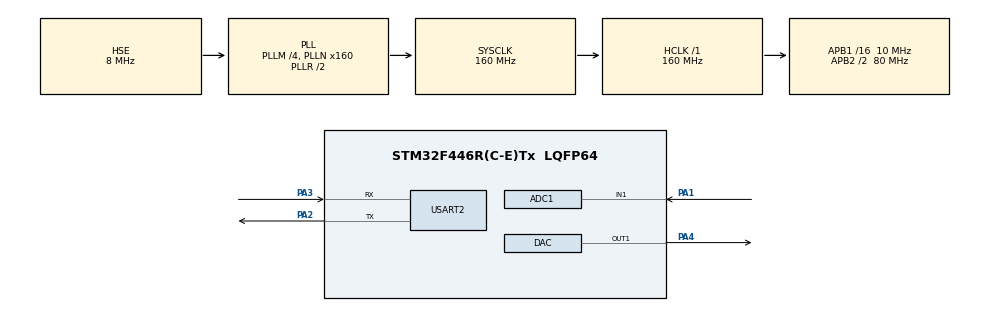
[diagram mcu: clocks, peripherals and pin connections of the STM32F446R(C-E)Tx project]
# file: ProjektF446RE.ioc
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ADC1.Channel-0\#ChannelRegularConversion=ADC_CHANNEL_1
ADC1.ClockPrescaler=ADC_CLOCK_SYNC_PCLK_DIV8
ADC1.ContinuousConvMode=ENABLE
ADC1.DMAContinuousRequests=ENABLE
ADC1.NbrOfConversionFlag=1
ADC1.Rank-0\#ChannelRegularConversion=1
ADC1.SamplingTime-0\#ChannelRegularConversion=ADC_SAMPLETIME_3CYCLES
ADC1.ScanConvMode=ENABLE
ADC1.master=1
DAC.DAC_Trigger=DAC_TRIGGER_T6_TRGO
Dma.ADC1.0.Direction=DMA_PERIPH_TO_MEMORY
Dma.ADC1.0.FIFOMode=DMA_FIFOMODE_DISABLE
Dma.ADC1.0.Instance=DMA2_Stream0
Dma.ADC1.0.MemDataAlignment=DMA_MDATAALIGN_HALFWORD
Dma.ADC1.0.MemInc=DMA_MINC_ENABLE
Dma.ADC1.0.Mode=DMA_CIRCULAR
Dma.ADC1.0.PeriphDataAlignment=DMA_PDATAALIGN_HALFWORD
Dma.ADC1.0.PeriphInc=DMA_PINC_DISABLE
Dma.ADC1.0.Priority=DMA_PRIORITY_LOW
Dma.DAC1.1.Direction=DMA_MEMORY_TO_PERIPH
Dma.DAC1.1.FIFOMode=DMA_FIFOMODE_DISABLE
Dma.DAC1.1.Instance=DMA1_Stream5
Dma.DAC1.1.MemDataAlignment=DMA_MDATAALIGN_HALFWORD
Dma.DAC1.1.MemInc=DMA_MINC_ENABLE
Dma.DAC1.1.Mode=DMA_CIRCULAR
Dma.DAC1.1.PeriphDataAlignment=DMA_PDATAALIGN_HALFWORD
Dma.DAC1.1.PeriphInc=DMA_PINC_DISABLE
Dma.DAC1.1.Priority=DMA_PRIORITY_LOW
Dma.Request0=ADC1
Dma.Request1=DAC1
Mcu.Family=STM32F4
Mcu.Name=STM32F446R(C-E)Tx
Mcu.Package=LQFP64
NVIC.DMA1_Stream5_IRQn=true\:0\:0\:false\:false\:true\:false\:true
NVIC.DMA2_Stream0_IRQn=true\:0\:0\:false\:false\:true\:false\:true
NVIC.PriorityGroup=NVIC_PRIORITYGROUP_4
NVIC.USART2_IRQn=true\:0\:0\:false\:false\:true\:true\:true
PA1.Signal=ADCx_IN1
PA13.Mode=Serial_Wire
PA13.Signal=SYS_JTMS-SWDIO
PA14.Mode=Serial_Wire
PA14.Signal=SYS_JTCK-SWCLK
PA2.Mode=Asynchronous
PA2.Signal=USART2_TX
PA3.Mode=Asynchronous
PA3.Signal=USART2_RX
PA4.Signal=COMP_DAC1_group
PB3.Signal=SYS_JTDO-SWO
PC14-OSC32_IN.Mode=LSE-External-Oscillator
PC14-OSC32_IN.Signal=RCC_OSC32_IN
PC15-OSC32_OUT.Mode=LSE-External-Oscillator
PC15-OSC32_OUT.Signal=RCC_OSC32_OUT
PH0-OSC_IN.Mode=HSE-External-Clock-Source
PH0-OSC_IN.Signal=RCC_OSC_IN
PH1-OSC_OUT.Mode=HSE-External-Clock-Source
PH1-OSC_OUT.Signal=RCC_OSC_OUT
ProjectManager.HeapSize=0x200
ProjectManager.StackSize=0x400
ProjectManager.TargetToolchain=STM32CubeIDE
RCC.AHBFreq_Value=160000000
RCC.APB1CLKDivider=RCC_HCLK_DIV16
RCC.APB1Freq_Value=10000000
RCC.APB1TimFreq_Value=20000000
RCC.APB2CLKDivider=RCC_HCLK_DIV2
RCC.APB2Freq_Value=80000000
RCC.APB2TimFreq_Value=160000000
RCC.CortexFreq_Value=160000000
RCC.HCLKFreq_Value=160000000
RCC.HSE_VALUE=8000000
RCC.PLLM=4
RCC.PLLN=160
RCC.PLLSourceVirtual=RCC_PLLSOURCE_HSE
RCC.PWR_Regulator_Voltage_Scale=PWR_REGULATOR_VOLTAGE_SCALE1
RCC.SYSCLKFreq_VALUE=160000000
RCC.SYSCLKSource=RCC_SYSCLKSOURCE_PLLRCLK
RCC.USBFreq_Value=160000000
RCC.VCOOutputFreq_Value=320000000
SH.ADCx_IN1.0=ADC1_IN1,IN1
SH.COMP_DAC1_group.0=DAC_OUT1,DAC_OUT1
TIM6.Period=999
TIM6.TIM_MasterOutputTrigger=TIM_TRGO_UPDATE
USART2.VirtualMode=VM_ASYNC
VP_TIM6_VS_ClockSourceINT.Mode=Enable_Timer
board=custom

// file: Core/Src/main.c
/* USER CODE BEGIN Header */
/**
  ******************************************************************************
  * @file           : main.c
  * @brief          : Main program body
  ******************************************************************************
  * @attention
  *
  * <h2><center>&copy; Copyright (c) 2021 STMicroelectronics.
  * All rights reserved.</center></h2>
  *
  * This software component is licensed by ST under BSD 3-Clause license,
  * the "License"; You may not use this file except in compliance with the
  * License. You may obtain a copy of the License at:
  *                        opensource.org/licenses/BSD-3-Clause
  *
  ******************************************************************************
  */
/* USER CODE END Header */
#include "main.h"

/* USER CODE BEGIN Includes */
#include <string.h>
#include <stdio.h>
#include <stdarg.h>
#include <math.h>
/* USER CODE END Includes */

/* USER CODE BEGIN PD */
void clean_frame(char * tab ,int len);
void clean_after_all(int len);
int tmp_to_hz(uint32_t temp);
void clean_frame(char * tab ,int len);
void USART_send(char* format,...);
void dac_tab_update(int hz , uint16_t *dac_fill_tab);
/* USER CODE END PD */

ADC_HandleTypeDef hadc1;
DMA_HandleTypeDef hdma_adc1;

DAC_HandleTypeDef hdac;
DMA_HandleTypeDef hdma_dac1;

TIM_HandleTypeDef htim6;

UART_HandleTypeDef huart2;

/* USER CODE BEGIN PV */
// ZMIENNE DO MySysTick()

uint8_t ms_set=0;
extern uint16_t arg;

//BUFOROWE ZMIENNE

#define USART_TXBUF_LEN 20000 //długość nadawczego bufora
#define USART_RXBUF_LEN 20000 //długość odbiorczego bufora
uint8_t USART_TxBuf[USART_TXBUF_LEN]; //bufor nadawczy
uint8_t USART_RxBuf[USART_RXBUF_LEN]; //bufor odbiorczy
//Wskaźniki
__IO int USART_TX_Empty = 0;
__IO int USART_TX_Busy = 0;
__IO int USART_RX_Empty = 0;
__IO int USART_RX_Busy = 0;

//ZMIENNE DO GENERACJI SINUSA
uint16_t fs = 10000;
const double PI = 3.14;
int f = 1;
int tablica_wartosci[10000];

//ZMIENNE DO CZUJNIKA TEMPERATURY

uint32_t temp;

//ZMIENNE DO RAMKI

#define  FRSTART 0x3A //znak początku ramki
#define FREND 0x3B //znak końca ramki
#define FRCOD 0x5C //znak kodujący
#define FRCODS 0x61 //znak zakodowany oznaczający znak startu ramki
#define FRCODE 0x62 //znak zakodowany oznaczajacy znak konca ramki

char receiver_name[4]; //tablica na nazwę odbiorcy
char sender_name[4]; // tablica na nazwe wysyłającego
char command[257]; // tablica na komende
char frame[264]; // tablica na ramkę
int frame_read=0; //zmienna mówiąca czy przetwarzana jest ramka

//zmienne do testów

// zmienne do DMA

uint16_t dma_buff[1024];
uint32_t i=0;
uint32_t suma_dma;

//Zmienne ogolnie

int sin_transmit = 0;
int hz=0;

//Zmienne flagowe ADC

int adc_half_buff = 0;
int adc_all_buff = 0;

//Zmienne do DAC

uint16_t dac_tab[128];
uint16_t tabI = 0;

//Zmienne flagowe DAC

int dac_half_buff = 0;
int dac_all_buff = 0;

/* USER CODE END PV */

void SystemClock_Config(void);
static void MX_GPIO_Init(void);
static void MX_DMA_Init(void);
static void MX_USART2_UART_Init(void);
static void MX_ADC1_Init(void);
static void MX_DAC_Init(void);
static void MX_TIM6_Init(void);
/* USER CODE BEGIN PFP */
void MySysTick(int arg){

	static uint16_t ms=0;
	ms++;
	if(ms>arg)
	{
		ms=0;
		ms_set=1;
	}

}

uint8_t USART_RX_IsNotEmpty(){
	if(USART_RX_Busy == USART_RX_Empty)
	{
		return 0;
	}else{
		return 1;
	}
}//Funkcja sprawdzajacy czy bufor odbiorczy jest pusty

uint8_t USART_GC(){
	uint8_t tmp;
	if(USART_RX_Empty!=USART_RX_Busy)
	{
		tmp = USART_RxBuf[USART_RX_Busy];
		USART_RX_Busy++;
		if(USART_RX_Busy >= USART_RXBUF_LEN) USART_RX_Busy =0;
		return tmp;
	}else
	{
		return 0;
	}
} //Funkcja zwracająca znak

uint16_t USART_GD(){
	static uint8_t bf[1052]; //buffor składujący znaki
	static uint16_t index=0;
	uint8_t buff_helper[1052]; //bufor pomocniczy
	uint16_t len_com; //długość komendy
	while(USART_RX_IsNotEmpty()) //Jeżeli buffor odbiorczy nie jest pusty następuje czytanie znaków
	{
		bf[index] = USART_GC(); //przeczytanie pojedynczego znaku
		if(bf[index] == FRSTART){ //sprawdzenie czy jest to znak początku ramki
			frame_read = 1; //włączenie czytania ramki
			bf[0] = bf[index]; //zabezpieczenie przez kilkoma znakami początku
			index = 0; //zabezpieczenie przez kilkoma znakami początku
		}
		if (frame_read == 1) { //Rozpoczęcie składowania ramki
			if ((bf[index] == FREND)) { //Napotkanie znaku końca ramki prowadzi do przekazania informacji z buffora składującego do buffora pomocniczego
				for (int i = 0; i <= index; i++) {
					buff_helper[i] = bf[i];
				}
				len_com = index; //długość komendy jest równa indexowi
				int y = 0, i = 0;
				if (len_com > 6) { //Sprawdzenie czy długość ramki zawiera minimalną możliwą długość
					while (i <= len_com) { //Początek dekodawania ramki
						char singlefrchar = buff_helper[i]; // wczytanie pojedynczego znaku z buffora pomocniczego
						switch (singlefrchar) { // w zależności od znaku dekodowanie lub przepisanie wartości lub przejście do wykonania komendy z ramki
						case FRCOD: { //w przypadku znaku kodowania odkodowanie wartości
							if (buff_helper[i + 1] == FRCODS) {
								frame[y] = FRSTART;
								i++;
							} else if (buff_helper[i + 1] == FRCODE) {
								frame[y] = FREND;
								i++;
							} else if (buff_helper[i + 1] == FRCOD) {
								frame[y] = FRCOD;
								i++;
							} else { //W momencie znalezienia kodowania, które nie zostało uwzględnione w protokole reset , nie jest to ramka
								i = len_com+1;
								clean_after_all(y);
							}
							break;
						}
						case FREND: { // W przypadku znalezienia znaku końca ramki
							if(y > 263){ // Jeżeli ramka ma więcej niż 263 znaki bez liczenia znaku końca ramki, przekracza ona wymagania protokołu(błąd)
								clean_after_all(y);
								break;
							}
							//Podzielenie ramki na poszczególne elementy
							memcpy(sender_name, &frame[1], 3); // nazwa wysyłającego
							memcpy(receiver_name, &frame[4], 3); // nazwa odbiorcy
							memcpy(command, &frame[7], (y - 6)); // komenda
							//wykonywanie komendy
							if (memcmp("STM", receiver_name, 3) == 0 //warunek sprawdzający czy dana ramka nie została wysłana przez STM do STM
									&& memcmp("STM", sender_name, 3) != 0) {
								if (memcmp("", command, 1) == 0) { // Warunek sprawdzający czy ramka posiada w sobie komendę
									USART_send(":STM%sFREMPTY;", sender_name);
									clean_after_all(y);
								} else {
									//Wykonanie poszczególnych komend
									if (memcmp("temp", command, 4) == 0) {
										USART_send(":STM%stemp,%i;", sender_name,temp); //wysłanie komunikatu zwrotnego z informacją o temperaturze
										clean_after_all(y); //wyczyszczenie ramki
									} else if (memcmp("sin", command, 3) == 0) {
										sin_transmit = 1; //ustawienie flagi do wysyłania wartości z tablicy wartości
									} else if (memcmp("hz", command, 2) == 0) {
										hz = tmp_to_hz(temp); //obliczenie hz
										USART_send(":STM%shz,%i;", sender_name, hz); //wysłanie komunikatu zwrotnego z obecnymi hz'ami
										clean_after_all(y); // wyczyszczenie ramki
									} else {
										//Komunikat o nierozpoznanej komendzie w ramce
										USART_send(":STM%sCOM404;", sender_name); //wysłanie komunikatu zwrotnego o nierozpoznaniu komendy
										clean_after_all(y); //wyczyszczenie ramki

									}
								}
							} else {
								clean_after_all(y); // wyczyszczenie ramki w przypadku odebrania ramki od samego siebie
							}
							break;
						}
						default: {
							frame[y] = buff_helper[i]; // przepisanie znaku z buffora pomocniczego do ramki
						}
						}
						y++;
						i++;
					}
				}
				index = 0; //wyzerowanie indexu
				return 0;
			} else {
				index++;
				if (index > 526) { //Sprawdzenie czy odbierane wartości są nie większe niż 526 znaku.
					index = 0; //wyzerowanie indexu
					frame_read = 0; //wyłączenie czytania ramki
				}
			}
		}
	}

	return 0;
}//Funkcja odbierająca dane

void USART_send(char* format,...){
	char tmp_s[1052];
	int i;
	__IO int index;
	va_list arglist;
	va_start(arglist,format);
	vsprintf(tmp_s,format,arglist);
	va_end(arglist);
	index=USART_TX_Empty;
	for(i=0;i<strlen(tmp_s);i++){
		USART_TxBuf[index] = tmp_s[i];
		index++;
		if(index >= USART_TXBUF_LEN) index=0;
	}

	__disable_irq();
	if((USART_TX_Empty == USART_TX_Busy) && (__HAL_UART_GET_FLAG(&huart2,UART_FLAG_TXE)==SET)){ //2 parametr sprawdza bufor nadajnika
		USART_TX_Empty = index;
		uint8_t tmp=USART_TxBuf[USART_TX_Busy];
		USART_TX_Busy++;
		if(USART_TX_Busy >= USART_TXBUF_LEN) USART_TX_Busy = 0;
		HAL_UART_Transmit_IT(&huart2,&tmp,1);

	}else{
		USART_TX_Empty = index;
	}
	__enable_irq();
}//Funkcja wysyłająca dane

void HAL_UART_TxCpltCallback(UART_HandleTypeDef *huart){
	if(huart == &huart2){
		if(USART_TX_Empty != USART_TX_Busy){
			uint8_t tmp= USART_TxBuf[USART_TX_Busy];
			USART_TX_Busy++;
			if(USART_TX_Busy >= USART_TXBUF_LEN) USART_TX_Busy =0;
			HAL_UART_Transmit_IT(&huart2, &tmp , 1);
		}
	}
}//Callback USART nadawania

void HAL_UART_RxCpltCallback(UART_HandleTypeDef *huart) {
	if (huart == &huart2) {
		USART_RX_Empty++;
		if (USART_RX_Empty >= USART_RXBUF_LEN)
			USART_RX_Empty = 0;
		HAL_UART_Receive_IT(&huart2, &USART_RxBuf[USART_RX_Empty], 1);
	}
} //Callback USART odbiór

void HAL_ADC_ConvCpltCallback(ADC_HandleTypeDef *hadc1) {

	adc_all_buff = 1;

}

void HAL_ADC_ConvHalfCpltCallback(ADC_HandleTypeDef *hadc1) {

	adc_half_buff = 1;

}

void HAL_DAC_ConvCpltCallbackCh1(DAC_HandleTypeDef *hdac) {

	dac_all_buff = 1;

}

void HAL_DAC_ConvHalfCpltCallbackCh1(DAC_HandleTypeDef *hdac) {

	dac_half_buff = 1;

}

void generacja_sinusa(int  *tablica_wartosci ) {

	int n,f=1; // n = ilość próbek na jeden okres sygnału f- częstotliwość
	double faza_sygnalu;
	uint16_t i = 0;
	n = fs / f; //obliczenie ilości próbek w momencie zmiany f

	while (i < n) {
		faza_sygnalu = ((i * 2 * PI * f) / fs);
		*(tablica_wartosci+i) = 2048 + (sin(faza_sygnalu) * 2048); //kodowanie wartości sinusa
		i = i + 1;
	}
	i = 0;
}// Funkcja generująca sinusa

void clean_frame(char * tab ,int len){

	for(int i = 0 ; i<=len ; i++)
	{
		*(tab+i) = '\0';
	}
}

void clean_after_all(int len){

	clean_frame(frame, len);
	clean_frame(command, (len - 6));

}

int tmp_to_hz(uint32_t temp){
	int value,hz=200;
	value = 55+temp;
	return hz + (value*9);
}

/* USER CODE END PFP */

int main(void)
{

  /* MCU Configuration--------------------------------------------------------*/

  /* Reset of all peripherals, Initializes the Flash interface and the Systick. */
  HAL_Init();

  /* Configure the system clock */
  SystemClock_Config();

  /* Initialize all configured peripherals */
  MX_GPIO_Init();
  MX_DMA_Init();
  MX_USART2_UART_Init();
  MX_ADC1_Init();
  MX_DAC_Init();
  MX_TIM6_Init();
  /* USER CODE BEGIN 2 */
  HAL_UART_Receive_IT(&huart2, &USART_RxBuf[0], 1); //Start UART
  HAL_ADC_Start_DMA(&hadc1,dma_buff, 1024); // Start ADC z DMA
  HAL_TIM_Base_Start(&htim6); //Start timera
  HAL_DAC_Start_DMA(&hdac, DAC1_CHANNEL_1, dac_tab, 128, DAC_ALIGN_12B_R); //Starta DAC z DMA

  int b=0,a=0;
  generacja_sinusa(tablica_wartosci); //wygenerowanie tablicy wartości
  arg=200; //ustawienie czasu delay dla systicka

  /* USER CODE END 2 */

  /* Infinite loop */
  /* USER CODE BEGIN WHILE */
  while (1)
  {

		hz = tmp_to_hz(temp);

		if(ms_set==1){
			USART_GD();
			ms_set=0;
		}

		if (sin_transmit == 1) {
			if(a > 9999){
				sin_transmit=0;
				a=0;
				b=0;
				clean_after_all(10);
			}else{
					USART_send(":STM%ssin,%i,%i;", sender_name ,b,tablica_wartosci[a]);
					ms_set=0;
					a+=hz;
					b++;
			}
		}

		if (adc_half_buff == 1) {
			suma_dma = 0;
			for (i = 0; i < 512; i++) {
				suma_dma += dma_buff[i];
			}
			temp = (((suma_dma / 512) * 3.3) / 4095) * 100;
			adc_half_buff=0;
		}

		if (adc_all_buff == 1) {
			suma_dma = 0;
			for (int i = 512; i < 1024; i++) {
				suma_dma += dma_buff[i];
			}
			temp = (((suma_dma / 512) * 3.3) / 4095) * 100;
			adc_all_buff =0;
		}

		if(dac_half_buff == 1){
			for(int i =0 ; i<64 ; i++){
				dac_tab[i] = tablica_wartosci[tabI];
				tabI+=hz;
				if(tabI > 10000){
					tabI-=10000;
				}
			}
			dac_half_buff=0;
		}

		if(dac_all_buff == 1){
			for(int i = 64 ; i<128 ; i++){
				dac_tab[i] = tablica_wartosci[tabI];
				tabI+=hz;
				if(tabI > 10000){
					tabI-=10000;
				}
			}
			dac_all_buff=0;
		}

    /* USER CODE END WHILE */

  }
}

void SystemClock_Config(void)
{
  RCC_OscInitTypeDef RCC_OscInitStruct = {0};
  RCC_ClkInitTypeDef RCC_ClkInitStruct = {0};

  /** Configure the main internal regulator output voltage
  */
  __HAL_RCC_PWR_CLK_ENABLE();
  __HAL_PWR_VOLTAGESCALING_CONFIG(PWR_REGULATOR_VOLTAGE_SCALE1);
  /** Initializes the RCC Oscillators according to the specified parameters
  * in the RCC_OscInitTypeDef structure.
  */
  RCC_OscInitStruct.OscillatorType = RCC_OSCILLATORTYPE_HSE;
  RCC_OscInitStruct.HSEState = RCC_HSE_BYPASS;
  RCC_OscInitStruct.PLL.PLLState = RCC_PLL_ON;
  RCC_OscInitStruct.PLL.PLLSource = RCC_PLLSOURCE_HSE;
  RCC_OscInitStruct.PLL.PLLM = 4;
  RCC_OscInitStruct.PLL.PLLN = 160;
  RCC_OscInitStruct.PLL.PLLP = RCC_PLLP_DIV2;
  RCC_OscInitStruct.PLL.PLLQ = 2;
  RCC_OscInitStruct.PLL.PLLR = 2;
  if (HAL_RCC_OscConfig(&RCC_OscInitStruct) != HAL_OK)
  {
    Error_Handler();
  }
  /** Initializes the CPU, AHB and APB buses clocks
  */
  RCC_ClkInitStruct.ClockType = RCC_CLOCKTYPE_HCLK|RCC_CLOCKTYPE_SYSCLK
                              |RCC_CLOCKTYPE_PCLK1|RCC_CLOCKTYPE_PCLK2;
  RCC_ClkInitStruct.SYSCLKSource = RCC_SYSCLKSOURCE_PLLRCLK;
  RCC_ClkInitStruct.AHBCLKDivider = RCC_SYSCLK_DIV1;
  RCC_ClkInitStruct.APB1CLKDivider = RCC_HCLK_DIV16;
  RCC_ClkInitStruct.APB2CLKDivider = RCC_HCLK_DIV2;

  if (HAL_RCC_ClockConfig(&RCC_ClkInitStruct, FLASH_LATENCY_5) != HAL_OK)
  {
    Error_Handler();
  }
}

static void MX_ADC1_Init(void)
{

  ADC_ChannelConfTypeDef sConfig = {0};

  /** Configure the global features of the ADC (Clock, Resolution, Data Alignment and number of conversion)
  */
  hadc1.Instance = ADC1;
  hadc1.Init.ClockPrescaler = ADC_CLOCK_SYNC_PCLK_DIV8;
  hadc1.Init.Resolution = ADC_RESOLUTION_12B;
  hadc1.Init.ScanConvMode = ENABLE;
  hadc1.Init.ContinuousConvMode = ENABLE;
  hadc1.Init.DiscontinuousConvMode = DISABLE;
  hadc1.Init.ExternalTrigConvEdge = ADC_EXTERNALTRIGCONVEDGE_NONE;
  hadc1.Init.ExternalTrigConv = ADC_SOFTWARE_START;
  hadc1.Init.DataAlign = ADC_DATAALIGN_RIGHT;
  hadc1.Init.NbrOfConversion = 1;
  hadc1.Init.DMAContinuousRequests = ENABLE;
  hadc1.Init.EOCSelection = ADC_EOC_SINGLE_CONV;
  if (HAL_ADC_Init(&hadc1) != HAL_OK)
  {
    Error_Handler();
  }
  /** Configure for the selected ADC regular channel its corresponding rank in the sequencer and its sample time.
  */
  sConfig.Channel = ADC_CHANNEL_1;
  sConfig.Rank = 1;
  sConfig.SamplingTime = ADC_SAMPLETIME_3CYCLES;
  if (HAL_ADC_ConfigChannel(&hadc1, &sConfig) != HAL_OK)
  {
    Error_Handler();
  }

}

static void MX_DAC_Init(void)
{

  DAC_ChannelConfTypeDef sConfig = {0};

  /** DAC Initialization
  */
  hdac.Instance = DAC;
  if (HAL_DAC_Init(&hdac) != HAL_OK)
  {
    Error_Handler();
  }
  /** DAC channel OUT1 config
  */
  sConfig.DAC_Trigger = DAC_TRIGGER_T6_TRGO;
  sConfig.DAC_OutputBuffer = DAC_OUTPUTBUFFER_ENABLE;
  if (HAL_DAC_ConfigChannel(&hdac, &sConfig, DAC_CHANNEL_1) != HAL_OK)
  {
    Error_Handler();
  }

}

static void MX_TIM6_Init(void)
{

  TIM_MasterConfigTypeDef sMasterConfig = {0};

  htim6.Instance = TIM6;
  htim6.Init.Prescaler = 0;
  htim6.Init.CounterMode = TIM_COUNTERMODE_UP;
  htim6.Init.Period = 999;
  htim6.Init.AutoReloadPreload = TIM_AUTORELOAD_PRELOAD_DISABLE;
  if (HAL_TIM_Base_Init(&htim6) != HAL_OK)
  {
    Error_Handler();
  }
  sMasterConfig.MasterOutputTrigger = TIM_TRGO_UPDATE;
  sMasterConfig.MasterSlaveMode = TIM_MASTERSLAVEMODE_DISABLE;
  if (HAL_TIMEx_MasterConfigSynchronization(&htim6, &sMasterConfig) != HAL_OK)
  {
    Error_Handler();
  }

}

static void MX_USART2_UART_Init(void)
{

  huart2.Instance = USART2;
  huart2.Init.BaudRate = 115200;
  huart2.Init.WordLength = UART_WORDLENGTH_8B;
  huart2.Init.StopBits = UART_STOPBITS_1;
  huart2.Init.Parity = UART_PARITY_NONE;
  huart2.Init.Mode = UART_MODE_TX_RX;
  huart2.Init.HwFlowCtl = UART_HWCONTROL_NONE;
  huart2.Init.OverSampling = UART_OVERSAMPLING_16;
  if (HAL_UART_Init(&huart2) != HAL_OK)
  {
    Error_Handler();
  }

}

static void MX_DMA_Init(void)
{

  /* DMA controller clock enable */
  __HAL_RCC_DMA2_CLK_ENABLE();
  __HAL_RCC_DMA1_CLK_ENABLE();

  /* DMA interrupt init */
  /* DMA1_Stream5_IRQn interrupt configuration */
  HAL_NVIC_SetPriority(DMA1_Stream5_IRQn, 0, 0);
  HAL_NVIC_EnableIRQ(DMA1_Stream5_IRQn);
  /* DMA2_Stream0_IRQn interrupt configuration */
  HAL_NVIC_SetPriority(DMA2_Stream0_IRQn, 0, 0);
  HAL_NVIC_EnableIRQ(DMA2_Stream0_IRQn);

}

static void MX_GPIO_Init(void)
{

  /* GPIO Ports Clock Enable */
  __HAL_RCC_GPIOC_CLK_ENABLE();
  __HAL_RCC_GPIOH_CLK_ENABLE();
  __HAL_RCC_GPIOA_CLK_ENABLE();
  __HAL_RCC_GPIOB_CLK_ENABLE();

}

void Error_Handler(void)
{
}

/************************ (C) COPYRIGHT STMicroelectronics *****END OF FILE****/
